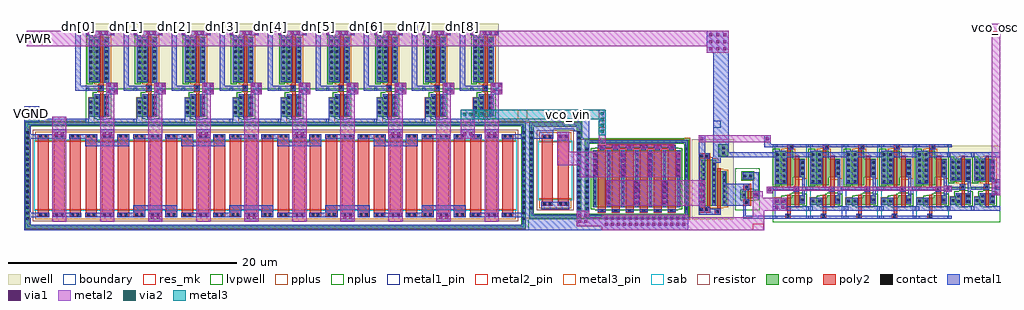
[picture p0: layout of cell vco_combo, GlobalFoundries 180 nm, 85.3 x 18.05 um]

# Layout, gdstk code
import gdstk
lib = gdstk.Library(unit=1e-6, precision=1e-09)
def R(c, l, rs):  # rectangles x0, y0, x1, y1
    for r in rs: c.add(gdstk.rectangle(r[:2], r[2:], *l))
def A(c, l, x, y, w, h, nx, ny, dx, dy):  # array of equal rectangles
    R(c, l, [(x+i*dx, y+j*dy, x+i*dx+w, y+j*dy+h) for i in range(nx) for j in range(ny)])
boundary = (0, 0)
nwell = (21, 0)
comp = (22, 0)
poly2 = (30, 0)
pplus = (31, 0)
nplus = (32, 0)
contact = (33, 0)
metal1 = (34, 0)
metal1_pin = (34, 10)
via1 = (35, 0)
metal2 = (36, 0)
metal2_pin = (36, 10)
via2 = (38, 0)
metal3 = (42, 0)
metal3_pin = (42, 10)
sab = (49, 0)
resistor = (62, 0)
res_mk = (110, 5)
lvpwell = (204, 0)

csrostage = lib.new_cell('csrostage')
R(csrostage, boundary, [(0,0,2.8,6.5)])
R(csrostage, nwell, [(-0.15,2.5,3.1,6.4)])
R(csrostage, comp, [(0,1.25,2.65,1.85), (1.5,1.85,2.65,2.05), (0,2.95,1.65,3.65), (0,3.65,2.65,5.25), (0,5.25,1.65,5.95)])
R(csrostage, poly2, [(0.95,0,1.4,0.45), (1.1,0.45,1.4,2.1), (1.75,1,2.15,2.35), (1.65,2.35,2.15,2.8), (1.1,2.7,1.4,6.05), (1.75,2.8,2.15,5.5), (1.1,6.05,1.65,6.5)])
R(csrostage, pplus, [(-0.02,1.23,0.6,1.87), (0.87,2.72,1.63,2.79), (0.6,2.79,1.81,3.42), (0.6,3.42,2.38,3.49), (0.6,3.49,2.81,5.41), (0.6,5.41,2.38,5.48), (0.6,5.48,1.81,6.11), (0.87,6.11,1.63,6.18)])
R(csrostage, nplus, [(0.87,1.02,2.38,1.09), (0.6,1.09,2.81,2.01), (0.87,2.01,2.81,2.08), (1.34,2.08,2.81,2.21), (1.52,2.21,2.38,2.28), (-0.16,2.79,0.44,2.93), (-0.16,2.93,0.6,5.97), (-0.16,5.97,0.44,6.11)])
A(csrostage, contact, 0.165, 3.165, 0.22, 0.22, 1, 6, 0, 0.47)
A(csrostage, contact, 0.715, 3.165, 0.22, 0.22, 1, 6, 0, 0.47)
A(csrostage, contact, 2.315, 3.87, 0.22, 0.22, 1, 3, 0, 0.47)
R(csrostage, contact, [(1.065,0.115,1.285,0.335), (0.165,1.44,0.385,1.66), (0.715,1.44,0.935,1.66), (2.315,1.54,2.535,1.76), (1.765,2.465,1.985,2.685), (1.315,6.165,1.535,6.385)])
R(csrostage, metal1, [(-0.15,0,3.1,0.25), (0.95,0.25,1.4,0.45), (-0.15,0.7,3.1,1.1), (0,1.1,1.05,1.85), (2.2,1.35,2.65,2.05), (2.4,2.05,2.65,2.55), (1.65,2.35,2.1,2.55), (-0.15,2.55,2.1,2.8), (2.4,2.55,3.1,2.8), (2.4,2.8,2.65,3.65), (0,3.05,1.05,5.4), (2.2,3.65,2.65,5.15), (-0.15,5.4,3.1,5.8), (0,5.8,0.95,5.95), (1.2,6.05,1.65,6.25), (-0.15,6.25,3.1,6.5)])
R(csrostage, metal1_pin, [(-0.15,0,0.25,0.25), (-0.15,0.7,0.25,1.1), (-0.15,2.55,0.25,2.8), (2.7,2.55,3.1,2.8), (-0.15,5.4,0.25,5.8), (-0.15,6.25,0.25,6.5)])
csrostage.add(gdstk.Label('Y', (2.9,2.675), layer=34, texttype=10))
csrostage.add(gdstk.Label('A', (0.05,2.675), layer=34, texttype=10))
csrostage.add(gdstk.Label('VbiasN', (0.05,0.125), layer=34, texttype=10))
csrostage.add(gdstk.Label('VSS', (0.05,0.9), layer=34, texttype=10))
csrostage.add(gdstk.Label('VbiasP', (0.05,6.375), layer=34, texttype=10))
csrostage.add(gdstk.Label('VCC', (0.05,5.6), layer=34, texttype=10))

bufinv = lib.new_cell('bufinv')
R(bufinv, nwell, [(-0.15,2.7,2.35,6.4)])
R(bufinv, comp, [(0.1,1.25,1.9,1.95), (0.6,1.95,1.9,2.25), (0.1,3.25,1.9,5.25)])
R(bufinv, poly2, [(1.1,1,1.38,2.55), (0.95,2.55,1.4,3), (1.1,3,1.38,5.5)])
R(bufinv, pplus, [(0.08,1.23,0.6,1.97), (0.87,3.02,1.61,3.09), (0.6,3.09,2.06,5.41), (0.87,5.41,1.61,5.48)])
R(bufinv, nplus, [(0.87,1.02,1.61,1.09), (0.6,1.09,2.06,1.95), (0.44,1.95,2.06,2.41), (0.87,2.41,1.61,2.48), (-0.06,3.09,0.44,3.23), (-0.06,3.23,0.6,5.27), (-0.06,5.27,0.44,5.41)])
A(bufinv, contact, 0.215, 3.435, 0.22, 0.22, 1, 4, 0, 0.47)
A(bufinv, contact, 0.715, 3.435, 0.22, 0.22, 1, 4, 0, 0.47)
A(bufinv, contact, 1.565, 3.435, 0.22, 0.22, 1, 4, 0, 0.47)
R(bufinv, contact, [(0.715,1.405,0.935,1.625), (1.565,1.405,1.785,1.625), (0.215,1.49,0.435,1.71), (0.715,1.875,0.935,2.095), (1.565,1.875,1.785,2.095), (1.065,2.665,1.285,2.885)])
R(bufinv, metal1, [(-0.15,0.7,2.35,1.1), (0.1,1.1,1.05,1.95), (1.45,1.35,1.9,2.25), (0.6,1.95,1.05,2.25), (1.65,2.25,1.9,2.55), (-0.15,2.55,1.4,2.8), (1.65,2.55,2.35,2.8), (0.95,2.8,1.4,3), (1.65,2.8,1.9,3.25), (1.45,3.25,1.9,5.15), (0.1,3.35,1.05,5.4), (-0.15,5.4,2.35,5.8)])
R(bufinv, metal1_pin, [(-0.15,0.7,0.1,1.1), (-0.15,2.55,0.1,2.8), (2.1,2.55,2.35,2.8), (-0.15,5.4,0.1,5.8)])
bufinv.add(gdstk.Label('VCC', (-0.025,5.6), layer=34, texttype=10))
bufinv.add(gdstk.Label('VSS', (-0.025,0.9), layer=34, texttype=10))
bufinv.add(gdstk.Label('Y', (2.225,2.675), layer=34, texttype=10))
bufinv.add(gdstk.Label('A', (-0.025,2.675), layer=34, texttype=10))

nfet_03v3_kt5ajw = lib.new_cell('nfet_03v3_KT5AJW')
R(nfet_03v3_kt5ajw, boundary, [(-4.35,-3.25,4.35,3.25)])
R(nfet_03v3_kt5ajw, comp, [(-4.53,-3.43,4.53,-3.07), (-4.53,-3.07,-4.17,3.07), (4.17,-3.07,4.53,3.07), (-3.84,-2.5,3.84,2.5), (-4.53,3.07,4.53,3.43)])
A(nfet_03v3_kt5ajw, poly2, -3.4, -2.96, 0.7, 5.92, 6, 1, 1.22, 0)
R(nfet_03v3_kt5ajw, pplus, [(-4.55,-3.45,4.55,-3.05), (-4.55,-3.05,-4.14,-2.945), (4.14,-3.05,4.55,-2.945), (-4.56,-2.945,-4.14,2.945), (4.14,-2.945,4.56,2.945), (-4.55,2.945,-4.14,3.05), (4.14,2.945,4.55,3.05), (-4.55,3.05,4.55,3.45)])
R(nfet_03v3_kt5ajw, nplus, [(-3.63,-2.73,3.63,-2.66), (-4,-2.66,4,2.66), (-3.63,2.66,3.63,2.73)])
A(nfet_03v3_kt5ajw, contact, -3.16, -2.89, 0.22, 0.22, 6, 2, 1.22, 5.56)
A(nfet_03v3_kt5ajw, contact, -4.46, -2.695, 0.22, 0.22, 1, 12, 0, 0.47)
A(nfet_03v3_kt5ajw, contact, 4.24, -2.695, 0.22, 0.22, 1, 12, 0, 0.47)
A(nfet_03v3_kt5ajw, contact, -3.77, -2.225, 0.22, 0.22, 7, 10, 1.22, 0.47)
A(nfet_03v3_kt5ajw, metal1, -3.39, -2.895, 0.68, 0.23, 6, 2, 1.22, 5.56)
A(nfet_03v3_kt5ajw, metal1, -3.775, -2.49, 0.23, 4.98, 7, 1, 1.22, 0)
R(nfet_03v3_kt5ajw, metal1, [(-4.465,-3.365,4.465,-3.135), (-4.465,-3.135,-4.235,3.135), (4.235,-3.135,4.465,3.135), (-4.465,3.135,4.465,3.365)])
R(nfet_03v3_kt5ajw, lvpwell, [(-4.65,-3.55,4.65,3.55)])

ppolyf_u_1k_acapaa = lib.new_cell('ppolyf_u_1k_ACAPAA')
R(ppolyf_u_1k_acapaa, boundary, [(-2.08,-3.99,2.08,3.99)])
R(ppolyf_u_1k_acapaa, comp, [(-2.26,-4.17,2.26,-3.81), (-2.26,-3.81,-1.9,3.81), (1.9,-3.81,2.26,3.81), (-2.26,3.81,2.26,4.17)])
R(ppolyf_u_1k_acapaa, poly2, [(-1.2,-3.11,-0.2,3.11), (0.2,-3.11,1.2,3.11)])
R(ppolyf_u_1k_acapaa, pplus, [(-2.28,-4.19,2.28,-3.79), (-2.28,-3.79,-1.87,-3.685), (1.87,-3.79,2.28,-3.685), (-2.29,-3.685,-1.87,3.685), (1.87,-3.685,2.29,3.685), (-1.4,-3.31,1.4,-2.5), (-1.4,2.5,1.4,3.31), (-2.28,3.685,-1.87,3.79), (1.87,3.685,2.28,3.79), (-2.28,3.79,2.28,4.19)])
A(ppolyf_u_1k_acapaa, contact, -2.19, -3.4, 0.22, 0.22, 1, 15, 0, 0.47)
A(ppolyf_u_1k_acapaa, contact, 1.97, -3.4, 0.22, 0.22, 1, 15, 0, 0.47)
R(ppolyf_u_1k_acapaa, contact, [(-1.045,-3.04,-0.825,-2.82), (-0.575,-3.04,-0.355,-2.82), (0.355,-3.04,0.575,-2.82), (0.825,-3.04,1.045,-2.82), (-1.045,2.82,-0.825,3.04), (-0.575,2.82,-0.355,3.04), (0.355,2.82,0.575,3.04), (0.825,2.82,1.045,3.04)])
R(ppolyf_u_1k_acapaa, metal1, [(-2.195,-4.105,2.195,-3.875), (-2.195,-3.875,-1.965,3.875), (1.965,-3.875,2.195,3.875), (-1.19,-3.045,-0.21,-2.815), (0.21,-3.045,1.19,-2.815), (-1.19,2.815,-0.21,3.045), (0.21,2.815,1.19,3.045), (-2.195,3.875,2.195,4.105)])
R(ppolyf_u_1k_acapaa, sab, [(-1.48,-2.6,1.48,2.6), (-1.48,-2.5,1.48,2.5)])
R(ppolyf_u_1k_acapaa, resistor, [(-1.6,-3.51,1.6,3.51)])
R(ppolyf_u_1k_acapaa, res_mk, [(-1.48,-2.5,1.48,2.5), (-1.2,-2.5,-0.2,2.5), (0.2,-2.5,1.2,2.5)])
R(ppolyf_u_1k_acapaa, lvpwell, [(-2.38,-4.29,2.38,4.29)])

csringosc = lib.new_cell('csringosc')
R(csringosc, nwell, [(-1.65,-0.1,2.05,6.9)])
R(csringosc, comp, [(-0.8,1.1,1.4,4.1), (2.75,1.75,4.05,2.35), (2.7,3.3,3.8,4.1), (-0.8,4.1,0.5,5.1), (0.7,5.4,1.55,6.45)])
R(csringosc, poly2, [(0.35,0.3,0.9,0.85), (-1.05,0.5,-0.02,1), (0.6,0.85,0.9,4.35), (-0.3,1,-0.02,5.2), (2.85,1.1,3.55,1.65), (3.25,1.65,3.55,2.45), (2.85,2.45,3.55,3), (-1.05,5.2,-0.02,5.7), (-9.85,6.05,-3.05,6.41)])
R(csringosc, pplus, [(-2.24,-0.14,-1.76,0), (-11.29,0,-11,0.505), (-1.9,0,-1.76,0.505), (-11.28,0.505,-11.01,6.395), (-1.89,0.505,-1.76,6.395), (-0.53,0.87,1.13,0.94), (-0.96,0.94,1.56,4.26), (2.68,3.28,3.82,4.12), (-0.96,4.26,1.13,4.33), (-0.96,4.33,0.66,5.26), (-0.53,5.26,0.21,5.33), (-11.28,6.395,-11,6.9), (-1.9,6.395,-1.76,6.9), (-2.24,6.9,-1.76,7.04)])
R(csringosc, nplus, [(3.02,1.52,3.78,1.59), (2.59,1.59,4.21,2.51), (3.02,2.51,3.78,2.58), (0.68,5.38,1.57,6.47)])
A(csringosc, contact, 1.065, 1.315, 0.22, 0.22, 1, 6, 0, 0.47)
A(csringosc, contact, -0.685, 1.345, 0.22, 0.22, 1, 8, 0, 0.47)
A(csringosc, contact, 0.165, 1.345, 0.22, 0.22, 1, 8, 0, 0.47)
R(csringosc, contact, [(0.515,0.465,0.735,0.685), (-0.92,0.64,-0.7,0.86), (-0.45,0.64,-0.23,0.86), (3.015,1.265,3.235,1.485), (2.865,1.94,3.085,2.16), (3.715,1.94,3.935,2.16), (3.015,2.615,3.235,2.835), (2.905,3.59,3.125,3.81), (3.375,3.59,3.595,3.81), (-0.92,5.34,-0.7,5.56), (-0.45,5.34,-0.23,5.56), (1.015,5.58,1.235,5.8), (1.015,6.05,1.235,6.27)])
A(csringosc, metal1, -9.1, 1.1, 0.4, 2.2, 3, 1, 2.45, 0)
A(csringosc, metal1, -9.7, 5.95, 0.4, 0.13, 6, 1, 1.22, 0)
A(csringosc, metal1, -9.72, 6.08, 0.44, 0.27, 6, 1, 1.22, 0)
R(csringosc, metal1, [(-11.7,-0.7,-10.6,7.6), (2.85,-0.05,5.7,0.2), (20.7,-0.05,21.1,0.2), (2.85,0.2,3.1,1.1), (-1.05,0.3,0.9,0.85), (5.45,0.65,6.65,1.8), (-14.8,0.8,-12.35,1.45), (-1.05,0.85,-0.1,1), (-1.05,1,-0.45,5.2), (0.15,1.1,0.45,4.85), (1.05,1.1,3.4,1.65), (1.05,1.65,3.1,2.45), (3.7,1.75,4.3,2.35), (4.9,2.2,5.45,2.5), (20.4,2.3,21.1,2.85), (3.7,2.35,4.2,3.4), (1.05,2.45,3.4,3), (4.9,2.5,5.85,2.75), (24.85,2.5,25.3,2.75), (1.05,3,1.35,4.1), (2.8,3.4,4.2,4), (-10.3,3.6,-9.9,5.8), (-7.85,3.6,-7.45,5.8), (-5.45,3.6,-5.05,5.8), (-3,3.6,-2.6,5.8), (0.15,4.85,0.9,5.35), (-1.05,5.2,-0.1,5.7), (0.25,5.35,5.6,5.75), (-1.05,5.7,-0.45,7.25), (0.25,5.75,1.6,8.5), (4.7,6.2,5.75,6.45), (20.7,6.2,21.1,6.45), (4.7,6.45,5.25,7.25), (-13.4,6.8,-12.35,7.55), (-15.65,6.95,-13.75,7.8), (-11.95,7.6,-10.6,7.8), (-15.65,7.8,-10.6,8.35)])
R(csringosc, metal1_pin, [(20.7,-0.05,21.1,0.2), (20.7,2.45,21.1,2.7), (24.85,2.5,25.3,2.75), (20.7,6.2,21.1,6.45), (0.25,7.9,0.9,8.5)])
A(csringosc, via1, -9.03, 1.29, 0.26, 0.26, 3, 4, 2.45, 0.52)
A(csringosc, via1, -0.88, 1.29, 0.26, 0.26, 1, 4, 0, 0.52)
A(csringosc, via1, -10.23, 3.79, 0.26, 0.26, 1, 4, 0, 0.52)
A(csringosc, via1, -7.78, 3.79, 0.26, 0.26, 1, 4, 0, 0.52)
A(csringosc, via1, -5.38, 3.79, 0.26, 0.26, 1, 4, 0, 0.52)
A(csringosc, via1, -2.93, 3.79, 0.26, 0.26, 1, 4, 0, 0.52)
A(csringosc, via1, -9.63, 6.09, 0.26, 0.26, 6, 1, 1.22, 0)
R(csringosc, via1, [(-11.54,-0.415,-11.28,-0.155), (-11.02,-0.415,-10.76,-0.155), (-11.54,0.105,-11.28,0.365), (-11.02,0.105,-10.76,0.365), (5.66,0.835,5.92,1.095), (6.18,0.835,6.44,1.095), (5.66,1.355,5.92,1.615), (6.18,1.355,6.44,1.615), (3.87,1.92,4.13,2.18), (5.045,2.345,5.305,2.605), (20.62,2.445,20.88,2.705), (-0.88,6.82,-0.62,7.08), (4.845,6.82,5.105,7.08), (-13.265,7.045,-13.005,7.305), (-12.745,7.045,-12.485,7.305)])
A(csringosc, metal2, -8.5, 6.08, 0.44, 0.13, 5, 1, 1.22, 0)
R(csringosc, metal2, [(3.7,-1.05,4.7,-0.7), (-11.7,-0.7,4.7,0.1), (-11.7,0.1,-10.6,0.65), (3.7,0.1,4.7,0.65), (3.7,0.65,6.65,1.8), (-9.1,1.1,-0.45,3.3), (3.7,1.8,4.55,2.35), (4.9,2.2,5.45,2.4), (20.4,2.3,21.1,2.4), (4.9,2.4,21.1,2.75), (20.4,2.75,21.1,2.85), (-11.45,3.6,-2.6,4.65), (-13.4,4.65,-2.6,5.8), (-13.4,5.8,-12.35,7.55), (-9.75,6.08,-9.15,6.21), (-9.75,6.21,-3.18,6.5), (-9.75,6.5,-9.15,8.5), (-1.05,6.65,5.25,7.25)])
R(csringosc, metal2_pin, [(3.7,-1.05,4.65,-0.5), (-9.75,7.9,-9.15,8.5)])
R(csringosc, lvpwell, [(5.45,-0.35,25.3,2.45), (-11.25,-0.1,-11.05,7), (2.15,0.7,4.3,4.35), (21.1,2.45,25.3,2.65)])
csringosc.add(gdstk.Reference(csrostage, (5.6,-0.05)))
csringosc.add(gdstk.Reference(csrostage, (8.7,-0.05)))
csringosc.add(gdstk.Reference(csrostage, (11.8,-0.05)))
csringosc.add(gdstk.Reference(csrostage, (18,-0.05)))
csringosc.add(gdstk.Reference(bufinv, (20.85,-0.05)))
csringosc.add(gdstk.Reference(csrostage, (14.9,-0.05)))
csringosc.add(gdstk.Reference(bufinv, (22.95,-0.05)))
csringosc.add(gdstk.Reference(nfet_03v3_kt5ajw, (-6.45,3.45)))
csringosc.add(gdstk.Reference(ppolyf_u_1k_acapaa, (-13.57,4.19)))
csringosc.add(gdstk.Label('osc_out', (25.075,2.625), layer=34, texttype=10))
csringosc.add(gdstk.Label('vbiasp', (20.9,6.325), layer=34, texttype=10))
csringosc.add(gdstk.Label('osc_raw', (20.9,2.575), layer=34, texttype=10))
csringosc.add(gdstk.Label('vbiasn', (20.9,0.075), layer=34, texttype=10))
csringosc.add(gdstk.Label('VCC', (0.575,8.2), layer=34, texttype=10))
csringosc.add(gdstk.Label('VSS', (4.175,-0.775), layer=36, texttype=10))
csringosc.add(gdstk.Label('vin', (-9.45,8.2), layer=36, texttype=10))

bufinv_2 = lib.new_cell('bufinv_2')
R(bufinv_2, nwell, [(-0.15,2.7,2.35,8.4)])
R(bufinv_2, comp, [(0.1,0.25,1.9,1.95), (0.6,1.95,1.9,2.25), (0.1,3.25,1.9,7.25)])
R(bufinv_2, poly2, [(1.1,0,1.38,2.4), (0.95,2.4,1.4,3.15), (1.1,3.15,1.38,7.5)])
R(bufinv_2, pplus, [(0.08,0.23,0.6,1.97), (0.87,3.02,1.61,3.09), (0.6,3.09,2.06,7.41), (0.87,7.41,1.61,7.48)])
R(bufinv_2, nplus, [(0.87,0.02,1.61,0.09), (0.6,0.09,2.06,1.95), (0.44,1.95,2.06,2.41), (0.87,2.41,1.61,2.48), (-0.06,3.09,0.44,3.23), (-0.06,3.23,0.6,7.27), (-0.06,7.27,0.44,7.41)])
A(bufinv_2, contact, 0.715, 0.435, 0.22, 0.22, 1, 4, 0, 0.47)
A(bufinv_2, contact, 1.565, 0.435, 0.22, 0.22, 1, 4, 0, 0.47)
A(bufinv_2, contact, 0.215, 0.52, 0.22, 0.22, 1, 3, 0, 0.47)
A(bufinv_2, contact, 0.215, 3.495, 0.22, 0.22, 1, 8, 0, 0.47)
A(bufinv_2, contact, 0.715, 3.495, 0.22, 0.22, 1, 8, 0, 0.47)
A(bufinv_2, contact, 1.565, 3.495, 0.22, 0.22, 1, 8, 0, 0.47)
R(bufinv_2, contact, [(1.065,2.665,1.285,2.885)])
R(bufinv_2, metal1, [(-0.15,-0.3,2.35,0.1), (0.1,0.1,1.05,1.95), (1.45,0.35,1.9,2.25), (0.6,1.95,1.05,2.25), (1.65,2.25,1.9,2.55), (-0.15,2.55,1.4,3), (1.65,2.55,2.35,3), (1.65,3,1.9,3.25), (1.45,3.25,1.9,7.15), (0.1,3.35,1.05,7.4), (-0.15,7.4,2.35,7.8)])
R(bufinv_2, metal1_pin, [(-0.15,-0.3,0.1,0.1), (-0.15,2.55,0.1,2.8), (2.1,2.55,2.35,2.8), (-0.15,7.4,0.1,7.8)])
R(bufinv_2, lvpwell, [(-0.15,-0.3,2.35,2.7)])
bufinv_2.add(gdstk.Label('VCC', (-0.025,7.6), layer=34, texttype=10))
bufinv_2.add(gdstk.Label('VSS', (-0.025,-0.1), layer=34, texttype=10))
bufinv_2.add(gdstk.Label('Y', (2.225,2.675), layer=34, texttype=10))
bufinv_2.add(gdstk.Label('A', (-0.025,2.675), layer=34, texttype=10))

ppolyf_u_1k_nl4dcc = lib.new_cell('ppolyf_u_1k_NL4DCC')
R(ppolyf_u_1k_nl4dcc, boundary, [(-21.68,-4.49,21.68,4.49)])
R(ppolyf_u_1k_nl4dcc, comp, [(-21.86,-4.67,21.86,-4.31), (-21.86,-4.31,-21.5,4.31), (21.5,-4.31,21.86,4.31), (-21.86,4.31,21.86,4.67)])
A(ppolyf_u_1k_nl4dcc, poly2, -20.8, -3.61, 1, 7.22, 30, 1, 1.4, 0)
R(ppolyf_u_1k_nl4dcc, pplus, [(-21.88,-4.69,21.88,-4.29), (-21.88,-4.29,-21.47,-4.185), (21.47,-4.29,21.88,-4.185), (-21.89,-4.185,-21.47,4.185), (21.47,-4.185,21.89,4.185), (-21,-3.81,21,-3), (-21,3,21,3.81), (-21.88,4.185,-21.47,4.29), (21.47,4.185,21.88,4.29), (-21.88,4.29,21.88,4.69)])
A(ppolyf_u_1k_nl4dcc, contact, -21.79, -3.87, 0.22, 0.22, 1, 17, 0, 0.47)
A(ppolyf_u_1k_nl4dcc, contact, 21.57, -3.87, 0.22, 0.22, 1, 17, 0, 0.47)
R(ppolyf_u_1k_nl4dcc, contact, [(-20.645,-3.54,-20.425,-3.32), (-20.175,-3.54,-19.955,-3.32), (-19.245,-3.54,-19.025,-3.32), (-18.775,-3.54,-18.555,-3.32), (-17.845,-3.54,-17.625,-3.32), (-17.375,-3.54,-17.155,-3.32), (-16.445,-3.54,-16.225,-3.32), (-15.975,-3.54,-15.755,-3.32), (-15.045,-3.54,-14.825,-3.32), (-14.575,-3.54,-14.355,-3.32), (-13.645,-3.54,-13.425,-3.32), (-13.175,-3.54,-12.955,-3.32), (-12.245,-3.54,-12.025,-3.32), (-11.775,-3.54,-11.555,-3.32), (-10.845,-3.54,-10.625,-3.32), (-10.375,-3.54,-10.155,-3.32), (-9.445,-3.54,-9.225,-3.32), (-8.975,-3.54,-8.755,-3.32), (-8.045,-3.54,-7.825,-3.32), (-7.575,-3.54,-7.355,-3.32), (-6.645,-3.54,-6.425,-3.32), (-6.175,-3.54,-5.955,-3.32), (-5.245,-3.54,-5.025,-3.32), (-4.775,-3.54,-4.555,-3.32), (-3.845,-3.54,-3.625,-3.32), (-3.375,-3.54,-3.155,-3.32), (-2.445,-3.54,-2.225,-3.32), (-1.975,-3.54,-1.755,-3.32), (-1.045,-3.54,-0.825,-3.32), (-0.575,-3.54,-0.355,-3.32), (0.355,-3.54,0.575,-3.32), (0.825,-3.54,1.045,-3.32), (1.755,-3.54,1.975,-3.32), (2.225,-3.54,2.445,-3.32), (3.155,-3.54,3.375,-3.32), (3.625,-3.54,3.845,-3.32), (4.555,-3.54,4.775,-3.32), (5.025,-3.54,5.245,-3.32), (5.955,-3.54,6.175,-3.32), (6.425,-3.54,6.645,-3.32), (7.355,-3.54,7.575,-3.32), (7.825,-3.54,8.045,-3.32), (8.755,-3.54,8.975,-3.32), (9.225,-3.54,9.445,-3.32), (10.155,-3.54,10.375,-3.32), (10.625,-3.54,10.845,-3.32), (11.555,-3.54,11.775,-3.32), (12.025,-3.54,12.245,-3.32), (12.955,-3.54,13.175,-3.32), (13.425,-3.54,13.645,-3.32), (14.355,-3.54,14.575,-3.32), (14.825,-3.54,15.045,-3.32), (15.755,-3.54,15.975,-3.32), (16.225,-3.54,16.445,-3.32), (17.155,-3.54,17.375,-3.32), (17.625,-3.54,17.845,-3.32), (18.555,-3.54,18.775,-3.32), (19.025,-3.54,19.245,-3.32), (19.955,-3.54,20.175,-3.32), (20.425,-3.54,20.645,-3.32), (-20.645,3.32,-20.425,3.54), (-20.175,3.32,-19.955,3.54), (-19.245,3.32,-19.025,3.54), (-18.775,3.32,-18.555,3.54), (-17.845,3.32,-17.625,3.54), (-17.375,3.32,-17.155,3.54), (-16.445,3.32,-16.225,3.54), (-15.975,3.32,-15.755,3.54), (-15.045,3.32,-14.825,3.54), (-14.575,3.32,-14.355,3.54), (-13.645,3.32,-13.425,3.54), (-13.175,3.32,-12.955,3.54), (-12.245,3.32,-12.025,3.54), (-11.775,3.32,-11.555,3.54), (-10.845,3.32,-10.625,3.54), (-10.375,3.32,-10.155,3.54), (-9.445,3.32,-9.225,3.54), (-8.975,3.32,-8.755,3.54), (-8.045,3.32,-7.825,3.54), (-7.575,3.32,-7.355,3.54), (-6.645,3.32,-6.425,3.54), (-6.175,3.32,-5.955,3.54), (-5.245,3.32,-5.025,3.54), (-4.775,3.32,-4.555,3.54), (-3.845,3.32,-3.625,3.54), (-3.375,3.32,-3.155,3.54), (-2.445,3.32,-2.225,3.54), (-1.975,3.32,-1.755,3.54), (-1.045,3.32,-0.825,3.54), (-0.575,3.32,-0.355,3.54), (0.355,3.32,0.575,3.54), (0.825,3.32,1.045,3.54), (1.755,3.32,1.975,3.54), (2.225,3.32,2.445,3.54), (3.155,3.32,3.375,3.54), (3.625,3.32,3.845,3.54), (4.555,3.32,4.775,3.54), (5.025,3.32,5.245,3.54), (5.955,3.32,6.175,3.54), (6.425,3.32,6.645,3.54), (7.355,3.32,7.575,3.54), (7.825,3.32,8.045,3.54), (8.755,3.32,8.975,3.54), (9.225,3.32,9.445,3.54), (10.155,3.32,10.375,3.54), (10.625,3.32,10.845,3.54), (11.555,3.32,11.775,3.54), (12.025,3.32,12.245,3.54), (12.955,3.32,13.175,3.54), (13.425,3.32,13.645,3.54), (14.355,3.32,14.575,3.54), (14.825,3.32,15.045,3.54), (15.755,3.32,15.975,3.54), (16.225,3.32,16.445,3.54), (17.155,3.32,17.375,3.54), (17.625,3.32,17.845,3.54), (18.555,3.32,18.775,3.54), (19.025,3.32,19.245,3.54), (19.955,3.32,20.175,3.54), (20.425,3.32,20.645,3.54)])
A(ppolyf_u_1k_nl4dcc, metal1, -20.79, -3.545, 0.98, 0.23, 30, 2, 1.4, 6.86)
R(ppolyf_u_1k_nl4dcc, metal1, [(-21.795,-4.605,21.795,-4.375), (-21.795,-4.375,-21.565,4.375), (21.565,-4.375,21.795,4.375), (-21.795,4.375,21.795,4.605)])
R(ppolyf_u_1k_nl4dcc, sab, [(-21.08,-3.1,21.08,3.1), (-21.08,-3,21.08,3)])
R(ppolyf_u_1k_nl4dcc, resistor, [(-21.2,-4.01,21.2,4.01)])
A(ppolyf_u_1k_nl4dcc, res_mk, -20.8, -3, 1, 6, 30, 1, 1.4, 0)
R(ppolyf_u_1k_nl4dcc, res_mk, [(-21.08,-3,21.08,3)])
R(ppolyf_u_1k_nl4dcc, lvpwell, [(-21.98,-4.79,21.98,4.79)])

r2r_dac = lib.new_cell('r2r_dac')
A(r2r_dac, pplus, 5.33, 9.18, 0.52, 0.4, 9, 1, 4.2, 0)
A(r2r_dac, metal1, 10.55, 0.45, 1.25, 0.8, 4, 1, 8.4, 0)
A(r2r_dac, metal1, 2.25, 0.85, 2.45, 0.4, 3, 1, 2.8, 0)
A(r2r_dac, metal1, 12.05, 0.85, 1.05, 0.65, 4, 1, 8.4, 0)
A(r2r_dac, metal1, 9.25, 1.25, 1.05, 0.25, 4, 1, 8.4, 0)
A(r2r_dac, metal1, 9.25, 1.5, 3.85, 0.4, 4, 1, 8.4, 0)
A(r2r_dac, metal1, 5.05, 7.05, 3.85, 0.4, 4, 1, 8.4, 0)
A(r2r_dac, metal1, 5.05, 7.45, 1.05, 0.25, 4, 1, 8.4, 0)
A(r2r_dac, metal1, 7.85, 7.45, 1.05, 0.65, 4, 1, 8.4, 0)
A(r2r_dac, metal1, 6.35, 7.75, 1.25, 0.8, 5, 1, 8.4, 0)
A(r2r_dac, metal1, 6.9, 11.6, 1, 1, 9, 1, 4.2, 0)
A(r2r_dac, metal1, 4.2, 11.9, 1.35, 0.45, 9, 1, 4.2, 0)
A(r2r_dac, metal1, 4.2, 12.35, 0.45, 5.4, 9, 1, 4.2, 0)
A(r2r_dac, metal1, 5.15, 16.8, 2.4, 0.3, 9, 1, 4.2, 0)
R(r2r_dac, metal1, [(-0.1,0.85,1.9,1.25), (13.45,0.85,15.9,1.25), (16.25,0.85,18.7,1.25), (21.85,0.85,24.3,1.25), (24.65,0.85,27.1,1.25), (30.25,0.85,32.7,1.25), (33.05,0.85,35.5,1.25), (38.65,0.85,41.1,1.25), (41.45,0.85,43.45,1.25), (-0.1,7.7,3.4,8.1), (3.65,7.7,6.1,8.1), (9.25,7.7,11.7,8.1), (12.05,7.7,14.5,8.1), (17.65,7.7,20.1,8.1), (20.45,7.7,22.9,8.1), (26.05,7.7,28.5,8.1), (28.85,7.7,31.3,8.1), (34.45,7.7,36.9,8.1), (37.25,7.7,39.7,8.1), (41.45,7.7,43.45,8.1), (2.15,8.1,3.4,8.55), (37.85,8.1,39.1,8.55), (-0.05,8.9,43.45,9.45), (-0.05,9.45,0.85,10.55)])
A(r2r_dac, metal1_pin, 4.2, 17.3, 0.45, 0.45, 9, 1, 4.2, 0)
R(r2r_dac, metal1_pin, [(-0.05,9.95,0.85,10.55)])
A(r2r_dac, via1, 5.18, 16.82, 0.26, 0.26, 5, 1, 0.52, 0)
A(r2r_dac, via1, 9.38, 16.82, 0.26, 0.26, 5, 1, 0.52, 0)
A(r2r_dac, via1, 13.58, 16.82, 0.26, 0.26, 5, 1, 0.52, 0)
A(r2r_dac, via1, 17.78, 16.82, 0.26, 0.26, 5, 1, 0.52, 0)
A(r2r_dac, via1, 21.98, 16.82, 0.26, 0.26, 5, 1, 0.52, 0)
A(r2r_dac, via1, 26.18, 16.82, 0.26, 0.26, 5, 1, 0.52, 0)
A(r2r_dac, via1, 30.38, 16.82, 0.26, 0.26, 5, 1, 0.52, 0)
A(r2r_dac, via1, 34.58, 16.82, 0.26, 0.26, 5, 1, 0.52, 0)
A(r2r_dac, via1, 38.78, 16.82, 0.26, 0.26, 5, 1, 0.52, 0)
R(r2r_dac, via1, [(10.785,0.72,11.045,0.98), (11.305,0.72,11.565,0.98), (19.185,0.72,19.445,0.98), (19.705,0.72,19.965,0.98), (27.585,0.72,27.845,0.98), (28.105,0.72,28.365,0.98), (35.985,0.72,36.245,0.98), (36.505,0.72,36.765,0.98), (38.085,7.995,38.345,8.255), (38.605,7.995,38.865,8.255), (2.385,8.02,2.645,8.28), (2.905,8.02,3.165,8.28), (6.585,8.02,6.845,8.28), (7.105,8.02,7.365,8.28), (14.985,8.02,15.245,8.28), (15.505,8.02,15.765,8.28), (23.385,8.02,23.645,8.28), (23.905,8.02,24.165,8.28), (31.785,8.02,32.045,8.28), (32.305,8.02,32.565,8.28), (40.185,8.02,40.445,8.28), (40.705,8.02,40.965,8.28), (7.01,11.71,7.27,11.97), (7.53,11.71,7.79,11.97), (11.21,11.71,11.47,11.97), (11.73,11.71,11.99,11.97), (15.41,11.71,15.67,11.97), (15.93,11.71,16.19,11.97), (19.61,11.71,19.87,11.97), (20.13,11.71,20.39,11.97), (23.81,11.71,24.07,11.97), (24.33,11.71,24.59,11.97), (28.01,11.71,28.27,11.97), (28.53,11.71,28.79,11.97), (32.21,11.71,32.47,11.97), (32.73,11.71,32.99,11.97), (36.41,11.71,36.67,11.97), (36.93,11.71,37.19,11.97), (40.61,11.71,40.87,11.97), (41.13,11.71,41.39,11.97), (7.01,12.23,7.27,12.49), (7.53,12.23,7.79,12.49), (11.21,12.23,11.47,12.49), (11.73,12.23,11.99,12.49), (15.41,12.23,15.67,12.49), (15.93,12.23,16.19,12.49), (19.61,12.23,19.87,12.49), (20.13,12.23,20.39,12.49), (23.81,12.23,24.07,12.49), (24.33,12.23,24.59,12.49), (28.01,12.23,28.27,12.49), (28.53,12.23,28.79,12.49), (32.21,12.23,32.47,12.49), (32.73,12.23,32.99,12.49), (36.41,12.23,36.67,12.49), (36.93,12.23,37.19,12.49), (40.61,12.23,40.87,12.49), (41.13,12.23,41.39,12.49)])
A(r2r_dac, metal2, 2.15, 0.45, 1.25, 9.15, 10, 1, 4.2, 0)
A(r2r_dac, metal2, 6.9, 9.6, 0.7, 2, 9, 1, 4.2, 0)
A(r2r_dac, metal2, 6.9, 11.6, 1, 1, 9, 1, 4.2, 0)
R(r2r_dac, metal2, [(37.85,7.7,39.1,10.25), (-0.05,16.35,41.2,17.15)])
R(r2r_dac, metal2_pin, [(-0.05,16.35,0.75,17.15)])
R(r2r_dac, via2, [(38.085,9.695,38.345,9.955), (38.605,9.695,38.865,9.955)])
R(r2r_dac, metal3, [(37.85,9.4,43.7,10.25)])
R(r2r_dac, metal3_pin, [(42.85,9.4,43.7,10.25)])
r2r_dac.add(gdstk.Reference(bufinv_2, (5.25,9.35)))
r2r_dac.add(gdstk.Reference(bufinv_2, (9.45,9.35)))
r2r_dac.add(gdstk.Reference(bufinv_2, (13.65,9.35)))
r2r_dac.add(gdstk.Reference(bufinv_2, (17.85,9.35)))
r2r_dac.add(gdstk.Reference(bufinv_2, (22.05,9.35)))
r2r_dac.add(gdstk.Reference(bufinv_2, (26.25,9.35)))
r2r_dac.add(gdstk.Reference(bufinv_2, (30.45,9.35)))
r2r_dac.add(gdstk.Reference(bufinv_2, (34.65,9.35)))
r2r_dac.add(gdstk.Reference(bufinv_2, (38.85,9.35)))
r2r_dac.add(gdstk.Reference(ppolyf_u_1k_nl4dcc, (21.68,4.49)))
r2r_dac.add(gdstk.Label('dn[6]', (29.625,17.525), layer=34, texttype=10))
r2r_dac.add(gdstk.Label('dn[4]', (21.225,17.525), layer=34, texttype=10))
r2r_dac.add(gdstk.Label('dn[3]', (17.025,17.525), layer=34, texttype=10))
r2r_dac.add(gdstk.Label('dn[8]', (38.025,17.525), layer=34, texttype=10))
r2r_dac.add(gdstk.Label('dn[7]', (33.825,17.525), layer=34, texttype=10))
r2r_dac.add(gdstk.Label('dn[5]', (25.425,17.525), layer=34, texttype=10))
r2r_dac.add(gdstk.Label('dn[2]', (12.825,17.525), layer=34, texttype=10))
r2r_dac.add(gdstk.Label('dn[0]', (4.425,17.525), layer=34, texttype=10))
r2r_dac.add(gdstk.Label('dn[1]', (8.625,17.525), layer=34, texttype=10))
r2r_dac.add(gdstk.Label('VGND', (0.4,10.25), layer=34, texttype=10))
r2r_dac.add(gdstk.Label('VPWR', (0.35,16.75), layer=36, texttype=10))
r2r_dac.add(gdstk.Label('aout', (43.275,9.825), layer=42, texttype=10))

vco_combo = lib.new_cell('vco_combo')
R(vco_combo, nwell, [(5.4,12.35,41.5,18.05)])
R(vco_combo, pplus, [(43.87,1.05,44.15,1.555), (43.87,1.555,44.14,8.925), (43.87,8.925,44.15,8.975), (43.86,8.975,44.15,9.43)])
A(vco_combo, metal1, 4.5, 17.6, 0.45, 0.45, 9, 1, 4.2, 0)
R(vco_combo, metal1, [(0,0,58.05,0.5), (0,0.5,0.6,9.2), (43.6,0.5,58.05,1.35), (43.6,1.35,44.5,9.2), (84.6,3.05,85.3,4.45), (60.25,8.95,61.6,15.5), (0,9.2,1.35,10.85), (43.5,9.2,49.4,9.75), (59.65,15.5,61.6,17.45)])
A(vco_combo, metal1_pin, 4.5, 17.6, 0.45, 0.45, 9, 1, 4.2, 0)
R(vco_combo, metal1_pin, [(0,9.5,1.35,10.85)])
A(vco_combo, via1, 50.765, 0.385, 0.26, 0.26, 14, 2, 0.52, 0.52)
A(vco_combo, via1, 84.82, 3.1, 0.26, 0.26, 1, 3, 0, 0.52)
A(vco_combo, via1, 59.875, 15.725, 0.26, 0.26, 3, 3, 0.62, 0.62)
R(vco_combo, metal2, [(50.5,0,64.7,1.15), (50.5,1.15,58.05,1.35), (84.6,3.05,85.3,18.05), (50.25,8.3,50.85,10.55), (59.65,15.5,61.6,16.1), (0.25,16.1,61.6,17.45)])
R(vco_combo, metal2_pin, [(0.25,16.1,1.6,17.45), (84.6,17.35,85.3,18.05)])
A(vco_combo, via2, 50.42, 8.515, 0.26, 0.26, 1, 4, 0, 0.52)
R(vco_combo, metal3, [(50.25,8.3,50.85,9.7), (43.15,9.7,50.85,10.55)])
R(vco_combo, lvpwell, [(43.9,0,44.1,9.55), (5.4,9.5,41.5,12.35)])
vco_combo.add(gdstk.Reference(csringosc, (60,1.05)))
vco_combo.add(gdstk.Reference(r2r_dac, (0.3,0.3)))
vco_combo.add(gdstk.Label('dn[6]', (29.925,17.825), layer=34, texttype=10))
vco_combo.add(gdstk.Label('dn[4]', (21.525,17.825), layer=34, texttype=10))
vco_combo.add(gdstk.Label('dn[3]', (17.325,17.825), layer=34, texttype=10))
vco_combo.add(gdstk.Label('dn[8]', (38.325,17.825), layer=34, texttype=10))
vco_combo.add(gdstk.Label('dn[7]', (34.125,17.825), layer=34, texttype=10))
vco_combo.add(gdstk.Label('dn[5]', (25.725,17.825), layer=34, texttype=10))
vco_combo.add(gdstk.Label('dn[2]', (13.125,17.825), layer=34, texttype=10))
vco_combo.add(gdstk.Label('dn[0]', (4.725,17.825), layer=34, texttype=10))
vco_combo.add(gdstk.Label('dn[1]', (8.925,17.825), layer=34, texttype=10))
vco_combo.add(gdstk.Label('VGND', (0.675,10.175), layer=34, texttype=10))
vco_combo.add(gdstk.Label('vco_vin', (47.6,10.125), layer=42, texttype=0))
vco_combo.add(gdstk.Label('vco_osc', (84.95,17.7), layer=36, texttype=10))
vco_combo.add(gdstk.Label('VPWR', (0.925,16.775), layer=36, texttype=10))

lib.write_gds('vco_combo.gds')
